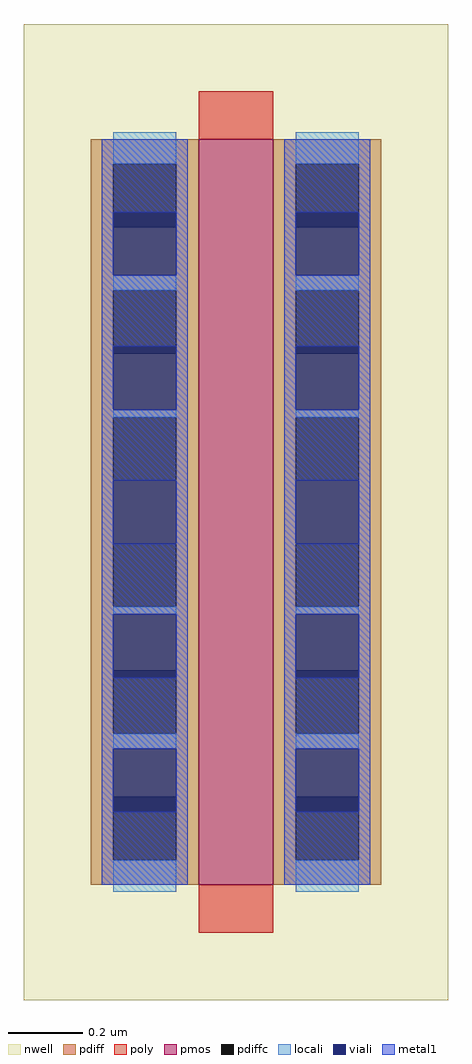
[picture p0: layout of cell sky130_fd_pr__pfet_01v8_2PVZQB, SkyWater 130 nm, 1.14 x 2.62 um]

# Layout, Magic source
magic
tech sky130A
magscale 1 2
<< nwell >>
rect -114 -262 114 262
<< pmos >>
rect -20 -200 20 200
<< pdiff >>
rect -78 187 -20 200
rect -78 153 -66 187
rect -32 153 -20 187
rect -78 119 -20 153
rect -78 85 -66 119
rect -32 85 -20 119
rect -78 51 -20 85
rect -78 17 -66 51
rect -32 17 -20 51
rect -78 -17 -20 17
rect -78 -51 -66 -17
rect -32 -51 -20 -17
rect -78 -85 -20 -51
rect -78 -119 -66 -85
rect -32 -119 -20 -85
rect -78 -153 -20 -119
rect -78 -187 -66 -153
rect -32 -187 -20 -153
rect -78 -200 -20 -187
rect 20 187 78 200
rect 20 153 32 187
rect 66 153 78 187
rect 20 119 78 153
rect 20 85 32 119
rect 66 85 78 119
rect 20 51 78 85
rect 20 17 32 51
rect 66 17 78 51
rect 20 -17 78 17
rect 20 -51 32 -17
rect 66 -51 78 -17
rect 20 -85 78 -51
rect 20 -119 32 -85
rect 66 -119 78 -85
rect 20 -153 78 -119
rect 20 -187 32 -153
rect 66 -187 78 -153
rect 20 -200 78 -187
<< pdiffc >>
rect -66 153 -32 187
rect -66 85 -32 119
rect -66 17 -32 51
rect -66 -51 -32 -17
rect -66 -119 -32 -85
rect -66 -187 -32 -153
rect 32 153 66 187
rect 32 85 66 119
rect 32 17 66 51
rect 32 -51 66 -17
rect 32 -119 66 -85
rect 32 -187 66 -153
<< poly >>
rect -20 200 20 226
rect -20 -226 20 -200
<< locali >>
rect -66 187 -32 204
rect -66 119 -32 127
rect -66 51 -32 55
rect -66 -55 -32 -51
rect -66 -127 -32 -119
rect -66 -204 -32 -187
rect 32 187 66 204
rect 32 119 66 127
rect 32 51 66 55
rect 32 -55 66 -51
rect 32 -127 66 -119
rect 32 -204 66 -187
<< viali >>
rect -66 153 -32 161
rect -66 127 -32 153
rect -66 85 -32 89
rect -66 55 -32 85
rect -66 -17 -32 17
rect -66 -85 -32 -55
rect -66 -89 -32 -85
rect -66 -153 -32 -127
rect -66 -161 -32 -153
rect 32 153 66 161
rect 32 127 66 153
rect 32 85 66 89
rect 32 55 66 85
rect 32 -17 66 17
rect 32 -85 66 -55
rect 32 -89 66 -85
rect 32 -153 66 -127
rect 32 -161 66 -153
<< metal1 >>
rect -72 161 -26 200
rect -72 127 -66 161
rect -32 127 -26 161
rect -72 89 -26 127
rect -72 55 -66 89
rect -32 55 -26 89
rect -72 17 -26 55
rect -72 -17 -66 17
rect -32 -17 -26 17
rect -72 -55 -26 -17
rect -72 -89 -66 -55
rect -32 -89 -26 -55
rect -72 -127 -26 -89
rect -72 -161 -66 -127
rect -32 -161 -26 -127
rect -72 -200 -26 -161
rect 26 161 72 200
rect 26 127 32 161
rect 66 127 72 161
rect 26 89 72 127
rect 26 55 32 89
rect 66 55 72 89
rect 26 17 72 55
rect 26 -17 32 17
rect 66 -17 72 17
rect 26 -55 72 -17
rect 26 -89 32 -55
rect 66 -89 72 -55
rect 26 -127 72 -89
rect 26 -161 32 -127
rect 66 -161 72 -127
rect 26 -200 72 -161
<< end >>
